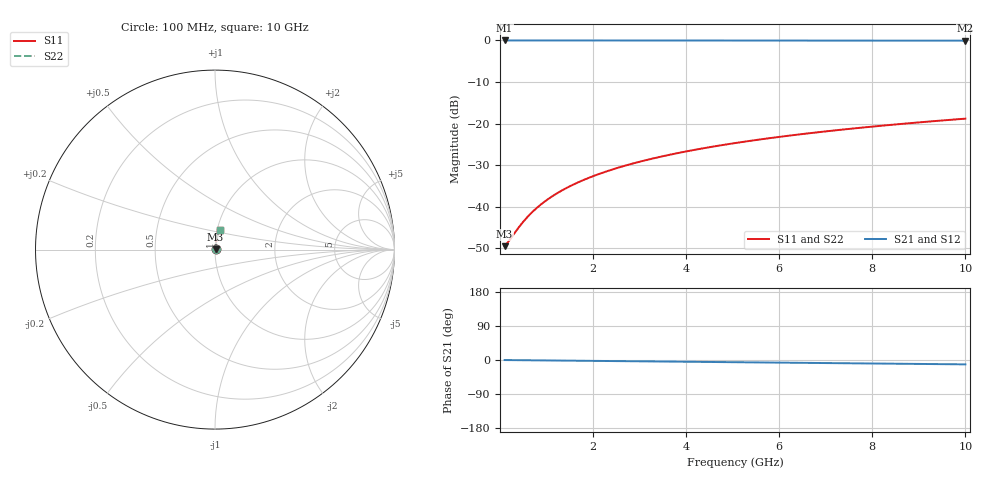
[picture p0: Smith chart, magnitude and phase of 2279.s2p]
# Hz S RI R 50.00
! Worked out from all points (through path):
!   100 points, 100 MHz to 10 GHz, reference 50 ohm
!   highest |S21| = -0.03 dB at 100 MHz (marker M1); lowest = -0.1 dB at 10 GHz (marker M2)
!   group delay of S21, straight-line fit = 3.2 ps
!   lowest |S11| = -49.5 dB at 100 MHz (marker M3), VSWR 1.01, Z = 50.3 + j0.115 ohm
!   |S11| at or under -10 dB: start of sweep to end of sweep
!   |S22| runs from -49.5 to -18.8 dB; largest |S21 - S12| = 0
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1e8  0.00316 0.00115  0.9968 -0.00201  0.9968 -0.00201  0.00316 0.00115
2e8  0.00319 0.00229  0.9968 -0.00401  0.9968 -0.00401  0.00319 0.00229
4e8  0.00324 0.00459  0.9967 -0.00802  0.9967 -0.00802  0.00324 0.00459
5e8  0.00327 0.00574  0.9967 -0.01  0.9967 -0.01  0.00327 0.00574
6e8  0.00331 0.00688  0.9967 -0.012  0.9967 -0.012  0.00331 0.00688
7e8  0.00334 0.00803  0.9966 -0.014  0.9966 -0.014  0.00334 0.00803
8e8  0.00339 0.00918  0.9966 -0.016  0.9966 -0.016  0.00339 0.00918
1e9  0.00348 0.0115  0.9965 -0.0201  0.9965 -0.0201  0.00348 0.0115
1.2e9  0.0036 0.0138  0.9963 -0.0241  0.9963 -0.0241  0.0036 0.0138
1.5e9  0.0038 0.0172  0.9961 -0.0301  0.9961 -0.0301  0.0038 0.0172
1.8e9  0.00404 0.0206  0.9958 -0.0361  0.9958 -0.0361  0.00404 0.0206
2.1e9  0.00432 0.0241  0.9955 -0.0421  0.9955 -0.0421  0.00432 0.0241
2.5e9  0.00476 0.0286  0.995 -0.0501  0.995 -0.0501  0.00476 0.0286
2.9e9  0.00527 0.0332  0.9944 -0.0581  0.9944 -0.0581  0.00527 0.0332
3.4e9  0.00601 0.0389  0.9935 -0.0681  0.9935 -0.0681  0.00601 0.0389
4.2e9  0.00744 0.0479  0.9919 -0.084  0.9919 -0.084  0.00744 0.0479
5.1e9  0.00938 0.058  0.9896 -0.1019  0.9896 -0.1019  0.00938 0.058
5.9e9  0.0114 0.067  0.9872 -0.1178  0.9872 -0.1178  0.0114 0.067
6.7e9  0.0137 0.0758  0.9845 -0.1335  0.9845 -0.1335  0.0137 0.0758
7.5e9  0.0163 0.0846  0.9815 -0.1492  0.9815 -0.1492  0.0163 0.0846
8.4e9  0.0196 0.0944  0.9777 -0.1668  0.9777 -0.1668  0.0196 0.0944
1e10  0.0263 0.1114  0.9699 -0.1977  0.9699 -0.1977  0.0263 0.1114
